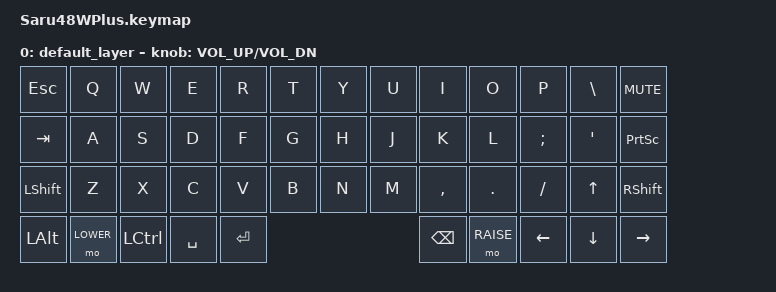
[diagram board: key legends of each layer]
/*
 * Copyright (c) 2022 The ZMK Contributors
 *
 * SPDX-License-Identifier: MIT
 */

#include <behaviors.dtsi>
#include <dt-bindings/zmk/keys.h>
#include <dt-bindings/zmk/bt.h>

#define DEFAULT 0
#define LOWER   1
#define RAISE   2

&lt {
    tapping-term-ms = <200>;
};

/ {
    keymap {
        compatible = "zmk,keymap";

        default_layer {
// -----------------------------------------------------------------------------------------------------------------------------------
// |   ESC   |    Q    |    W    |    E    |    R    |    T    |    Y    |    U    |    I    |    O    |    P    |    -    |  MUTE   |
// |   TAB   |    A    |    S    |    D    |    F    |    G    |    H    |    J    |    K    |    L    |    ;    |    '    |  PRINT  |
// |  SHIFT  |    Z    |    X    |    C    |    V    |    B    |    N    |    M    |    ,    |    .    |    /    |   UP    |  SHIFT  |
// |  L ALT  |  LOWER  |  CTRL   |         |  SPACE  |         | RETURN  |         |BACKSPACE|  RAISE  |  LEFT   |  DOWN   |  RIGHT  |
// -----------------------------------------------------------------------------------------------------------------------------------
            bindings = <
    &kp ESC    &kp Q    &kp W    &kp E     &kp R     &kp T     &kp Y     &kp U     &kp I     &kp O     &kp P    &kp BSLH   &kp C_MUTE
    &kp TAB    &kp A    &kp S    &kp D     &kp F     &kp G     &kp H     &kp J     &kp K     &kp L     &kp SEMI &kp SQT    &kp PSCRN
    &kp LSHIFT &kp Z    &kp X    &kp C     &kp V     &kp B     &kp N     &kp M     &kp COMMA &kp DOT   &kp FSLH &kp UP     &kp RSHIFT
    &kp LALT   &mo LOWER &kp LCTRL         &kp SPACE           &kp RET             &kp BSPC  &mo RAISE &kp LEFT &kp DOWN   &kp RIGHT
            >;

            sensor-bindings = <&inc_dec_kp C_VOL_UP C_VOL_DN>;
        };
    };
};
